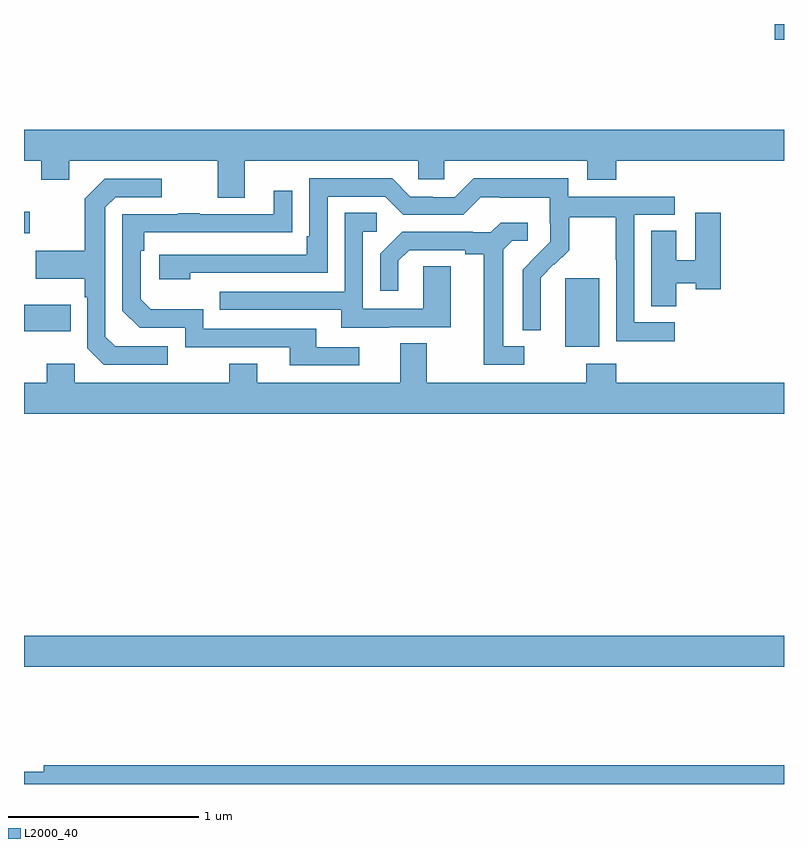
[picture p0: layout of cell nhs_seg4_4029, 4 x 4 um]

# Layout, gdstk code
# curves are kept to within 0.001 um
import gdstk
lib = gdstk.Library(unit=1e-6, precision=1e-09)
def R(c, l, rs):  # rectangles x0, y0, x1, y1
    for r in rs: c.add(gdstk.rectangle(r[:2], r[2:], *l))
def P(c, l, *ps):  # polygons
    for p in ps: c.add(gdstk.Polygon(p, *l))
L2000_40 = (2000, 40)

nhs_seg4_4029 = lib.new_cell('nhs_seg4_4029')
R(nhs_seg4_4029, L2000_40, [(325,767.516,329,767.68), (327.848,769.202,328.027,769.563), (325,769.283,325.247,769.423), (325,769.799,325.03,769.912), (328.95,770.818,329,770.9)])
P(nhs_seg4_4029, L2000_40, [(325,770.18),(325.09,770.18),(325.09,770.081),(325.237,770.081),(325.237,770.18),(326.021,770.18),(326.021,769.986),(326.161,769.986),(326.161,770.18),(327.075,770.18),(327.075,770.082),(327.213,770.082),(327.213,770.18),(327.965,770.18),(327.965,770.081),(328.118,770.081),(328.118,770.18),(329,770.18),(329,770.344),(325,770.344)],
  [(328.426,769.329),(328.212,769.329),(328.212,769.896),(328.426,769.896),(328.426,769.992),(327.864,769.992),(327.864,770.089),(327.367,770.089),(327.267,769.989),(327.152,769.989),(327.152,769.992),(327.033,769.992),(326.937,770.088),(326.502,770.088),(326.502,769.783),(326.489,769.783),(326.489,769.686),(325.713,769.686),(325.713,769.556),(325.874,769.556),(325.874,769.59),(326.598,769.59),(326.598,769.992),(326.901,769.992),(326.997,769.896),(327.312,769.896),(327.405,769.989),(327.505,769.989),(327.505,769.985),(327.768,769.985),(327.768,769.851),(327.77,769.851),(327.77,769.754),(327.624,769.606),(327.624,769.288),(327.72,769.288),(327.719,769.565),(327.789,769.635),(327.792,769.632),(327.869,769.709),(327.869,769.884),(328.114,769.884),(328.114,769.66),(328.116,769.66),(328.116,769.231),(328.426,769.231)],
  [(325.756,769.203),(325.479,769.203),(325.428,769.254),(325.428,769.935),(325.482,769.989),(325.726,769.989),(325.726,770.085),(325.425,770.085),(325.32,769.979),(325.32,769.707),(325.063,769.707),(325.063,769.559),(325.32,769.559),(325.32,769.463),(325.332,769.463),(325.332,769.194),(325.419,769.107),(325.756,769.107)],
  [(326.764,769.2),(326.539,769.2),(326.539,769.296),(325.944,769.296),(325.944,769.399),(325.667,769.399),(325.614,769.452),(325.614,769.706),(325.634,769.706),(325.634,769.803),(326.411,769.804),(326.411,770.023),(326.315,770.023),(326.315,769.899),(325.925,769.899),(325.925,769.904),(325.813,769.904),(325.813,769.899),(325.518,769.899),(325.518,769.392),(325.608,769.302),(325.848,769.302),(325.848,769.2),(326.399,769.2),(326.399,769.104),(326.764,769.104)],
  [(326.923,769.305),(327.247,769.305),(327.247,769.625),(327.102,769.625),(327.102,769.401),(326.784,769.401),(326.784,769.806),(326.857,769.806),(326.857,769.907),(326.688,769.907),(326.688,769.491),(326.029,769.491),(326.029,769.395),(326.669,769.395),(326.669,769.301),(326.923,769.301)],
  [(328.432,769.535),(328.536,769.535),(328.536,769.505),(328.667,769.505),(328.667,769.906),(328.532,769.906),(328.532,769.657),(328.432,769.657),(328.432,769.811),(328.301,769.811),(328.301,769.414),(328.432,769.414)],
  [(327.634,769.203),(327.523,769.203),(327.523,769.711),(327.57,769.758),(327.652,769.758),(327.652,769.855),(327.508,769.855),(327.456,769.803),(327.362,769.803),(327.362,769.806),(326.99,769.806),(326.874,769.69),(326.874,769.497),(326.971,769.497),(326.971,769.653),(327.028,769.71),(327.323,769.71),(327.323,769.688),(327.419,769.688),(327.419,769.107),(327.634,769.107)],
  [(329,769.012),(328.118,769.012),(328.118,769.111),(327.958,769.111),(327.958,769.012),(327.121,769.012),(327.121,769.22),(326.981,769.22),(326.981,769.012),(326.227,769.012),(326.227,769.111),(326.08,769.111),(326.08,769.012),(325.266,769.012),(325.266,769.111),(325.12,769.111),(325.12,769.012),(325,769.012),(325,768.848),(329,768.848)],
  [(329,767),(325.103,767),(325.103,766.964),(325,766.964),(325,766.9),(329,766.9)])

lib.write_gds('nhs_seg4_4029.gds')
